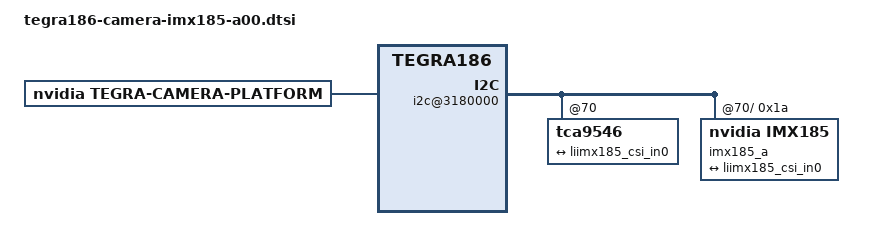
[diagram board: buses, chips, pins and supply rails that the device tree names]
/*
 * Copyright (c) 2016-2019, NVIDIA CORPORATION.  All rights reserved.
 *
 * This program is free software; you can redistribute it and/or modify
 * it under the terms of the GNU General Public License as published by
 * the Free Software Foundation; either version 2 of the License, or
 * (at your option) any later version.
 *
 * This program is distributed in the hope that it will be useful, but WITHOUT
 * ANY WARRANTY; without even the implied warranty of MERCHANTABILITY or
 * FITNESS FOR A PARTICULAR PURPOSE.  See the GNU General Public License for
 * more details.
 *
 * You should have received a copy of the GNU General Public License
 * along with this program.  If not, see <http://www.gnu.org/licenses/>.
 */

/ {
	host1x {
		vi@15700000 {
			num-channels = <1>;
			ports {
				#address-cells = <1>;
				#size-cells = <0>;
				port@0 {
					reg = <0>;
					liimx185_vi_in0: endpoint {
						port-index = <0>;
						bus-width = <4>;
						remote-endpoint = <&liimx185_csi_out0>;
					};
				};
			};
		};

		nvcsi@150c0000 {
			num-channels = <1>;
			#address-cells = <1>;
			#size-cells = <0>;
			channel@0 {
				reg = <0>;
				ports {
					#address-cells = <1>;
					#size-cells = <0>;
					port@0 {
						reg = <0>;
						liimx185_csi_in0: endpoint@0 {
							port-index = <0>;
							bus-width = <4>;
							remote-endpoint = <&liimx185_imx185_out0>;
						};
					};
					port@1 {
						reg = <1>;
						liimx185_csi_out0: endpoint@1 {
							remote-endpoint = <&liimx185_vi_in0>;
						};
					};
				};
			};
		};
	};

	i2c@3180000 {
		tca9546@70 {
			i2c@0 {
			imx185_a@1a {
				compatible = "nvidia,imx185";

				reg = <0x1a>;
				devnode = "video0";

				/* Physical dimensions of sensor */
				physical_w = "15.0";
				physical_h = "12.5";

				sensor_model ="imx185";
				/* Define any required hw resources needed by driver */
				/* ie. clocks, io pins, power sources */

				/* Defines number of frames to be dropped by driver internally after applying */
				/* sensor crop settings. Some sensors send corrupt frames after applying */
				/* crop co-ordinates */
				post_crop_frame_drop = "0";

				/* Convert Gain to unit of dB (decibel) befor passing to kernel driver */
				use_decibel_gain = "true";

				/* if true, delay gain setting by one frame to be in sync with exposure */
				delayed_gain = "true";

				/* enable CID_SENSOR_MODE_ID for sensor modes selection */
				use_sensor_mode_id = "true";

				/**
				* ==== Modes ====
				* A modeX node is required to support v4l2 driver
				* implementation with NVIDIA camera software stack
				*
				* == Signal properties ==
				*
				* phy_mode = "";
				* PHY mode used by the MIPI lanes for this device
				*
				* tegra_sinterface = "";
				* CSI Serial interface connected to tegra
				* Incase of virtual HW devices, use virtual
				* For SW emulated devices, use host
				*
				* pix_clk_hz = "";
				* Sensor pixel clock used for calculations like exposure and framerate
				*
				* readout_orientation = "0";
				* Based on camera module orientation.
				* Only change readout_orientation if you specifically
				* Program a different readout order for this mode
				*
				* == Image format Properties ==
				*
				* active_w = "";
				* Pixel active region width
				*
				* active_h = "";
				* Pixel active region height
				*
				* pixel_t = "";
				* The sensor readout pixel pattern
				*
				* line_length = "";
				* Pixel line length (width) for sensor mode.
				*
				* == Source Control Settings ==
				*
				* Gain factor used to convert fixed point integer to float
				* Gain range [min_gain/gain_factor, max_gain/gain_factor]
				* Gain step [step_gain/gain_factor is the smallest step that can be configured]
				* Default gain [Default gain to be initialized for the control.
                                *     use min_gain_val as default for optimal results]
				* Framerate factor used to convert fixed point integer to float
				* Framerate range [min_framerate/framerate_factor, max_framerate/framerate_factor]
				* Framerate step [step_framerate/framerate_factor is the smallest step that can be configured]
				* Default Framerate [Default framerate to be initialized for the control.
                                *     use max_framerate to get required performance]
				* Exposure factor used to convert fixed point integer to float
				* For convenience use 1 sec = 1000000us as conversion factor
				* Exposure range [min_exp_time/exposure_factor, max_exp_time/exposure_factor]
				* Exposure step [step_exp_time/exposure_factor is the smallest step that can be configured]
				* Default Exposure Time [Default exposure to be initialized for the control.
                                *     Set default exposure based on the default_framerate for optimal exposure settings]
				*
				* gain_factor = ""; (integer factor used for floating to fixed point conversion)
				* min_gain_val = ""; (ceil to integer)
				* max_gain_val = ""; (ceil to integer)
				* step_gain_val = ""; (ceil to integer)
				* default_gain = ""; (ceil to integer)
				* Gain limits for mode
				*
				* exposure_factor = ""; (integer factor used for floating to fixed point conversion)
				* min_exp_time = ""; (ceil to integer)
				* max_exp_time = ""; (ceil to integer)
				* step_exp_time = ""; (ceil to integer)
				* default_exp_time = ""; (ceil to integer)
				* Exposure Time limits for mode (sec)
				*
				* framerate_factor = ""; (integer factor used for floating to fixed point conversion)
				* min_framerate = ""; (ceil to integer)
				* max_framerate = ""; (ceil to integer)
				* step_framerate = ""; (ceil to integer)
				* default_framerate = ""; (ceil to integer)
				* Framerate limits for mode (fps)
				*
				* embedded_metadata_height = "";
				* Sensor embedded metadata height in units of rows.
				* If sensor does not support embedded metadata value should be 0.
				*/
				mode0 {/*mode IMX185_MODE_1920X1080_CROP_30FPS*/
					mclk_khz = "37125";
					num_lanes = "4";
					tegra_sinterface = "serial_a";
					phy_mode = "DPHY";
					discontinuous_clk = "no";
					dpcm_enable = "false";
					cil_settletime = "0";
					dynamic_pixel_bit_depth = "12";
					csi_pixel_bit_depth = "12";
					mode_type = "bayer";
					pixel_phase = "rggb";

					active_w = "1920";
					active_h = "1080";
					readout_orientation = "0";
					line_length = "2200";
					inherent_gain = "1";
					mclk_multiplier = "2";
					pix_clk_hz = "74250000";

					gain_factor = "10";
					min_gain_val = "0"; /* 0dB */
					max_gain_val = "480"; /* 48dB */
					step_gain_val = "3"; /* 0.3 */
					default_gain = "0";
					min_hdr_ratio = "1";
					max_hdr_ratio = "1";
					framerate_factor = "1000000";
					min_framerate = "1500000"; /* 1.5 */
					max_framerate = "30000000"; /* 30 */
					step_framerate = "1";
					default_framerate = "30000000";
					exposure_factor = "1000000";
					min_exp_time = "30"; /* us */
					max_exp_time = "660000"; /* us */
					step_exp_time = "1";
					default_exp_time = "33334";/* us */
					embedded_metadata_height = "1";
				};
				mode1 {/*mode IMX185_MODE_1920X1080_CROP_10BIT_30FPS*/
					mclk_khz = "37125";
					num_lanes = "4";
					tegra_sinterface = "serial_a";
					phy_mode = "DPHY";
					discontinuous_clk = "no";
					dpcm_enable = "false";
					cil_settletime = "0";
					dynamic_pixel_bit_depth = "10";
					csi_pixel_bit_depth = "10";
					mode_type = "bayer";
					pixel_phase = "rggb";

					active_w = "1920";
					active_h = "1080";
					readout_orientation = "0";
					line_length = "2640";
					inherent_gain = "1";
					mclk_multiplier = "2.4";
					pix_clk_hz = "89100000";

					gain_factor = "10";
					min_gain_val = "0"; /* 0dB */
					max_gain_val = "480"; /* 48dB */
					step_gain_val = "3"; /* 0.3 */
					default_gain ="0";
					min_hdr_ratio = "1";
					max_hdr_ratio = "1";
					framerate_factor = "1000000";
					min_framerate = "1500000"; /* 1.5 */
					max_framerate = "30000000"; /* 30 */
					step_framerate = "1";
					default_framerate = "30000000";
					exposure_factor = "1000000";
					min_exp_time = "30"; /* us */
					max_exp_time = "660000"; /* us */
					step_exp_time = "1";
					default_exp_time = "33334";/* us */
					embedded_metadata_height = "1";
				};

				mode2 {/*mode IMX185_MODE_1920X1080_CROP_60FPS*/
					mclk_khz = "37125";
					num_lanes = "4";
					tegra_sinterface = "serial_a";
					phy_mode = "DPHY";
					discontinuous_clk = "no";
					dpcm_enable = "false";
					cil_settletime = "0";
					dynamic_pixel_bit_depth = "12";
					csi_pixel_bit_depth = "12";
					mode_type = "bayer";
					pixel_phase = "rggb";

					active_w = "1920";
					active_h = "1080";
					readout_orientation = "0";
					line_length = "2200";
					inherent_gain = "1";
					mclk_multiplier = "4";
					pix_clk_hz = "148500000";

					gain_factor = "10";
					min_gain_val = "0"; /* 0dB */
					max_gain_val = "480"; /* 48dB */
					step_gain_val = "3"; /* 0.3 */
					default_gain = "0";
					min_hdr_ratio = "1";
					max_hdr_ratio = "1";
					framerate_factor = "1000000";
					min_framerate = "1500000"; /* 1.5 */
					max_framerate = "60000000"; /* 60 */
					step_framerate = "1";
					default_framerate = "60000000";
					exposure_factor = "1000000";
					min_exp_time = "30"; /* us */
					max_exp_time = "660000"; /* us */
					step_exp_time = "1";
					default_exp_time = "16667";/* us */
					embedded_metadata_height = "1";
				};

				mode3 {/*mode IMX185_MODE_1920X1080_CROP_10BIT_60FPS*/
					mclk_khz = "37125";
					num_lanes = "4";
					tegra_sinterface = "serial_a";
					phy_mode = "DPHY";
					discontinuous_clk = "no";
					dpcm_enable = "false";
					cil_settletime = "0";
					dynamic_pixel_bit_depth = "10";
					csi_pixel_bit_depth = "10";
					mode_type = "bayer";
					pixel_phase = "rggb";

					active_w = "1920";
					active_h = "1080";
					readout_orientation = "0";
					line_length = "2640";
					inherent_gain = "1";
					mclk_multiplier = "4.8";
					pix_clk_hz = "178200000";

					gain_factor = "10";
					min_gain_val = "0"; /* 0dB */
					max_gain_val = "480"; /* 48dB */
					step_gain_val = "3"; /* 0.3 */
					default_gain = "0";
					min_hdr_ratio = "1";
					max_hdr_ratio = "1";
					framerate_factor = "1000000";
					min_framerate = "1500000"; /* 1.5 */
					max_framerate = "60000000"; /* 60 */
					step_framerate = "1";
					default_framerate = "60000000";
					exposure_factor = "1000000";
					min_exp_time = "30"; /* us */
					max_exp_time = "660000"; /* us */
					step_exp_time = "1";
					default_exp_time = "16667";/* us */
					embedded_metadata_height = "1";
				};
				mode4 {/*mode IMX185_MODE_1920X1080_CROP_HDR_30FPS*/
					mclk_khz = "37125";
					num_lanes = "4";
					tegra_sinterface = "serial_a";
					phy_mode = "DPHY";
					discontinuous_clk = "no";
					dpcm_enable = "false";
					cil_settletime = "0";
					dynamic_pixel_bit_depth = "16";
					csi_pixel_bit_depth = "12";
					mode_type = "bayer_wdr_pwl";
					pixel_phase = "rggb";

					active_w = "1920";
					active_h = "1080";
					readout_orientation = "0";
					line_length = "2200";
					inherent_gain = "1";
					mclk_multiplier = "2";
					pix_clk_hz = "74250000";

					gain_factor = "10";
					min_gain_val = "0"; /* 0dB */
					max_gain_val = "120"; /* 12dB */
					step_gain_val = "3"; /* 0.3 */
					default_gain = "0";
					min_hdr_ratio = "16";
					max_hdr_ratio = "16";
					framerate_factor = "1000000";
					min_framerate = "1500000"; /* 1.5 */
					max_framerate = "30000000"; /* 30 */
					step_framerate = "1";
					default_framerate= "30000000";
					exposure_factor = "1000000";
					min_exp_time = "2433"; /* us */
					max_exp_time = "660000"; /* us */
					step_exp_time = "1";
					default_exp_time = "33334";/* us */
					embedded_metadata_height = "1";

					/* WDR related settings */
					num_control_point = "4";
					control_point_x_0 = "0";
					control_point_x_1 = "2048";
					control_point_x_2 = "16384";
					control_point_x_3 = "65536";
					control_point_y_0 = "0";
					control_point_y_1 = "2048";
					control_point_y_2 = "2944";
					control_point_y_3 = "3712";
				};
				ports {
					#address-cells = <1>;
					#size-cells = <0>;
					port@0 {
						reg = <0>;
						liimx185_imx185_out0: endpoint {
							port-index = <0>;
							bus-width = <4>;
							remote-endpoint = <&liimx185_csi_in0>;
							};
						};
					};
				};
			};
		};
	};
};

/ {

	tegra-camera-platform {
		compatible = "nvidia, tegra-camera-platform";
		/**
		* Physical settings to calculate max ISO BW
		*
		* num_csi_lanes = <>;
		* Total number of CSI lanes when all cameras are active
		*
		* max_lane_speed = <>;
		* Max lane speed in Kbit/s
		*
		* min_bits_per_pixel = <>;
		* Min bits per pixel
		*
		* vi_peak_byte_per_pixel = <>;
		* Max byte per pixel for the VI ISO case
		*
		* vi_bw_margin_pct = <>;
		* Vi bandwidth margin in percentage
		*
		* max_pixel_rate = <>;
		* Max pixel rate in Kpixel/s for the ISP ISO case
		*
		* isp_peak_byte_per_pixel = <>;
		* Max byte per pixel for the ISP ISO case
		*
		* isp_bw_margin_pct = <>;
		* Isp bandwidth margin in percentage
		*/
		num_csi_lanes = <4>;
		max_lane_speed = <1500000>;
		min_bits_per_pixel = <10>;
		vi_peak_byte_per_pixel = <2>;
		vi_bw_margin_pct = <25>;
		isp_peak_byte_per_pixel = <5>;
		isp_bw_margin_pct = <25>;

		/**
		 * The general guideline for naming badge_info contains 3 parts, and is as follows,
		 * The first part is the camera_board_id for the module; if the module is in a FFD
		 * platform, then use the platform name for this part.
		 * The second part contains the position of the module, ex. "rear" or "front".
		 * The third part contains the last 6 characters of a part number which is found
		 * in the module's specsheet from the vender.
		 */
		modules {
			module0 {
				badge = "imx185_bottom_liimx185";
				position = "bottom";
				orientation = "0";
				drivernode0 {
					/* Declare PCL support driver (classically known as guid)  */
					pcl_id = "v4l2_sensor";
					/* Driver v4l2 device name */
					devname = "imx185 30-001a";
					/* Declare the device-tree hierarchy to driver instance */
					proc-device-tree = "/proc/device-tree/i2c@3180000/tca9546@70/i2c@0/imx185_a@1a";
				};
			};
		};
	};
};
